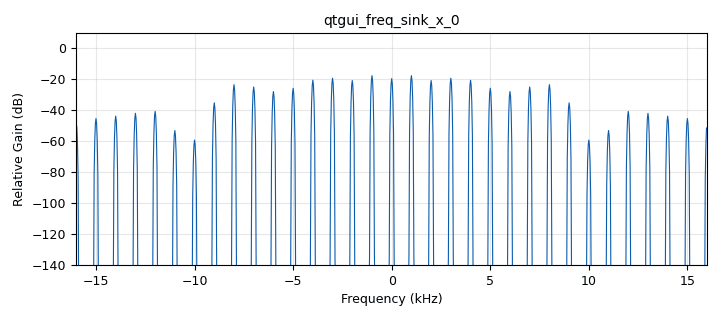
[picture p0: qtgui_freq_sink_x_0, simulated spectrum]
options:
  parameters:
    generate_options: qt_gui
    id: Labo_8
    output_language: python
    title: Oefening 2
  states: {}

blocks:
- name: samp_rate
  id: variable
  parameters:
    value: '32000'
  states: {}
- name: blocks_keep_m_in_n_0
  id: blocks_keep_m_in_n
  parameters:
    m: '1'
    n: '2'
    offset: '0'
    type: byte
  states: {}
- name: blocks_keep_m_in_n_0_0
  id: blocks_keep_m_in_n
  parameters:
    m: '1'
    n: '2'
    offset: '1'
    type: byte
  states: {}
- name: blocks_throttle2_0
  id: blocks_throttle2
  parameters:
    samples_per_second: samp_rate
    type: byte
  states: {}
- name: blocks_unpacked_to_packed_xx_0
  id: blocks_unpacked_to_packed_xx
  parameters:
    bits_per_chunk: '1'
    endianness: gr.GR_MSB_FIRST
    type: byte
  states: {}
- name: blocks_vector_source_x_0
  id: blocks_vector_source_x
  parameters:
    repeat: 'True'
    type: byte
    vector: (0b01101001, 0b00110011)
  states: {}
- name: digital_gfsk_demod_1
  id: digital_gfsk_demod
  parameters:
    freq_error: '0.0'
    gain_mu: '0.175'
    mu: '0.5'
    omega_relative_limit: '0.005'
    samples_per_symbol: '2'
    sensitivity: '1.0'
  states: {}
- name: digital_gfsk_mod_1
  id: digital_gfsk_mod
  parameters:
    bt: '0.35'
    samples_per_symbol: '2'
    sensitivity: '1.0'
  states: {}
- name: qtgui_freq_sink_x_0
  id: qtgui_freq_sink_x
  parameters:
    bw: samp_rate
    fc: '0'
    fftsize: '1024'
    type: complex
  states: {}
- name: qtgui_number_sink_0
  id: qtgui_number_sink
  parameters:
    graph_type: qtgui.NUM_GRAPH_HORIZ
    max: '150'
    min: '0'
    type: byte
  states: {}
- name: qtgui_number_sink_0_0
  id: qtgui_number_sink
  parameters:
    graph_type: qtgui.NUM_GRAPH_HORIZ
    max: '150'
    min: '0'
    type: byte
  states: {}

connections:
- [blocks_keep_m_in_n_0, '0', qtgui_number_sink_0, '0']
- [blocks_keep_m_in_n_0_0, '0', qtgui_number_sink_0_0, '0']
- [blocks_throttle2_0, '0', digital_gfsk_mod_1, '0']
- [blocks_unpacked_to_packed_xx_0, '0', blocks_keep_m_in_n_0, '0']
- [blocks_unpacked_to_packed_xx_0, '0', blocks_keep_m_in_n_0_0, '0']
- [blocks_vector_source_x_0, '0', blocks_throttle2_0, '0']
- [digital_gfsk_demod_1, '0', blocks_unpacked_to_packed_xx_0, '0']
- [digital_gfsk_mod_1, '0', digital_gfsk_demod_1, '0']
- [digital_gfsk_mod_1, '0', qtgui_freq_sink_x_0, '0']

metadata:
  file_format: 1
  grc_version: 3.10.7.0
